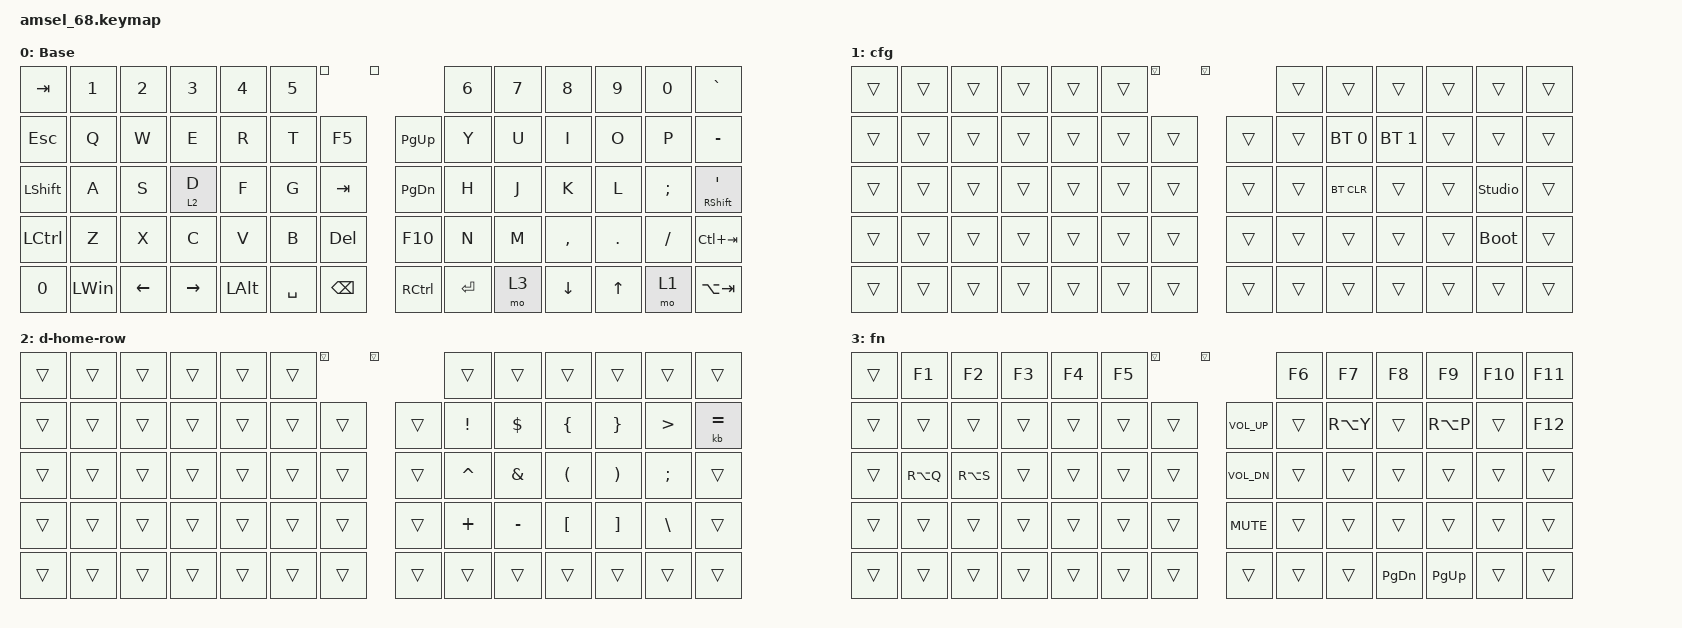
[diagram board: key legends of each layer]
// This file was generated from a template. Edit it to match your keyboard.
// See https://zmk.dev/docs/development/hardware-integration/new-shield for more instructions.


#include <behaviors.dtsi>
#include <dt-bindings/zmk/bt.h>
#include <dt-bindings/zmk/keys.h>

/ {
    // Define a default keymap here.
    // See https://zmk.dev/docs/development/hardware-integration/new-shield#default-keymap.
    keymap {
        compatible = "zmk,keymap";

        default_layer {
            display-name = "Base";
            bindings = <
                &kp TAB     &kp N1   &kp N2   &kp N3    &kp N4   &kp N5    &none      &none        &kp N6  &kp N7 &kp N8     &kp N9   &kp N0         &kp GRAVE
                &kp ESC     &kp Q    &kp W    &kp E     &kp R    &kp T     &kp F5     &kp PG_UP    &kp Y   &kp U  &kp I      &kp O    &kp P          &kp MINUS
                &kp LSHIFT  &kp A    &kp S    &lt 2 D   &kp F    &kp G     &kp TAB    &kp PG_DN    &kp H   &kp J  &kp K      &kp L    &kp SEMI       &mt RSHIFT SINGLE_QUOTE
                &kp LCTRL   &kp Z    &kp X    &kp C     &kp V    &kp B     &kp DEL    &kp F10      &kp N   &kp M  &kp COMMA  &kp DOT  &kp SLASH      &kp LC(TAB)
                &kp N0      &kp LWIN &kp LEFT &kp RIGHT &kp LALT &kp SPACE &kp BSPC   &kp RCTRL    &kp RET &mo 3  &kp DOWN   &kp UP   &mo 1          &kp LA(TAB)
            >;
        };
                // &kp LC(TAB) &kp LWIN &kp LEFT &kp RIGHT &kp LALT &kp SPACE &kp BSPC   &kp RCTRL    &kp RET &mo 2  &kp DOWN   &kp UP   &mo 1          &kp LA(TAB)

        cfg_layer {
            display-name = "cfg"; //layer is only for config options
            bindings = <
                &trans &trans &trans &trans &trans &trans &trans &trans &trans &trans       &trans       &trans  &trans         &trans
                &trans &trans &trans &trans &trans &trans &trans &trans &trans &bt BT_SEL 0 &bt BT_SEL 1 &trans  &trans         &trans
                &trans &trans &trans &trans &trans &trans &trans &trans &trans &bt BT_CLR   &trans       &trans  &studio_unlock &trans
                &trans &trans &trans &trans &trans &trans &trans &trans &trans &trans       &trans       &trans  &bootloader    &trans
                &trans &trans &trans &trans &trans &trans &trans &trans &trans &trans       &trans       &trans  &trans         &trans
            >;
        };

        d_layer {
            display-name = "d-home-row"; //layer is for d-home-row-mod
            bindings = <
                &trans &trans &trans &trans &trans &trans &trans &trans &trans    &trans     &trans         &trans           &trans    &trans
                &trans &trans &trans &trans &trans &trans &trans &trans &kp EXCL  &kp DOLLAR &kp LEFT_BRACE &kp RIGHT_BRACE  &kp GT    &kb EQUAL
                &trans &trans &trans &trans &trans &trans &trans &trans &kp CARET &kp AMPS   &kp LPAR       &kp RPAR         &kp SEMI  &trans
                &trans &trans &trans &trans &trans &trans &trans &trans &kp PLUS  &kp MINUS  &kp LBKT       &kp RBKT         &kp BSLH  &trans
                &trans &trans &trans &trans &trans &trans &trans &trans &trans    &trans     &trans         &trans           &trans    &trans
            >;
        };


        fn_layer {
            display-name = "fn"; //layer is only for function options
            bindings = <
                &trans &kp F1    &kp F2    &kp F3 &kp F4 &kp F5 &trans  &trans       &kp F6 &kp F7    &kp F8    &kp F9       &kp F10 &kp F11 
                &trans &trans    &trans    &trans &trans &trans &trans  &kp C_VOL_UP &trans &kp RA(Y) &trans    &kp RA(P)    &trans  &kp F12 
                &trans &kp RA(Q) &kp RA(S) &trans &trans &trans &trans  &kp C_VOL_DN &trans &trans    &trans    &trans       &trans  &trans
                &trans &trans    &trans    &trans &trans &trans &trans  &kp C_MUTE   &trans &trans    &trans    &trans       &trans  &trans
                &trans &trans    &trans    &trans &trans &trans &trans  &trans       &trans &trans    &kp PG_DN &kp PG_UP    &trans  &trans
            >;
        };

        extra1 {
            status = "reserved";
        };

        extra2 {
            status = "reserved";
        };

        extra3 {
            status = "reserved";
        };
    };
};
